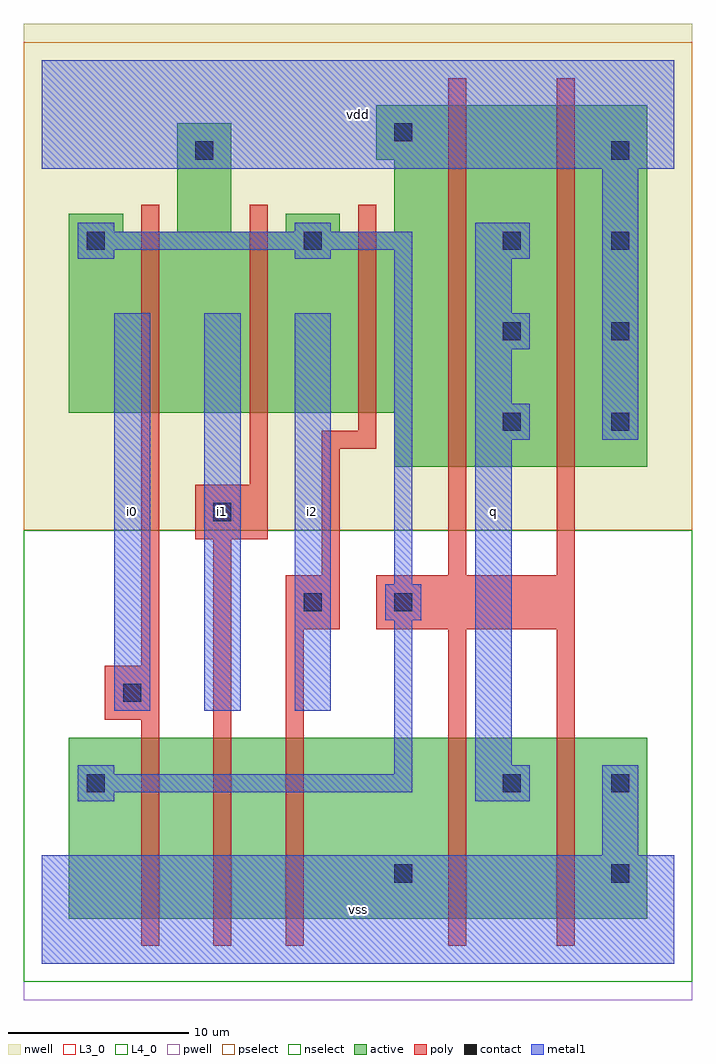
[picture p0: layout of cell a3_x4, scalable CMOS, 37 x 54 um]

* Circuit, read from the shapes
.subckt a3_x4 i0 i1 i2 q vdd vss
M1 n1 i0 n2 VSUBS nfet w=10u l=1u
M2 n3 i1 n1 VSUBS nfet w=10u l=1u
M3 vss i2 n3 VSUBS nfet w=10u l=1u
M4 q n2 vss VSUBS nfet w=10u l=1u m=2
M5 vdd i0 n2 n4 pfet w=10u l=1u
M6 n2 i1 vdd n4 pfet w=10u l=1u
M7 vdd i2 n2 n4 pfet w=10u l=1u
M8 q n2 vdd n4 pfet w=20u l=1u m=2
.ends

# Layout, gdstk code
import gdstk
lib = gdstk.Library(unit=1e-6, precision=1e-09)
def R(c, l, rs):  # rectangles x0, y0, x1, y1
    for r in rs: c.add(gdstk.rectangle(r[:2], r[2:], *l))
def A(c, l, x, y, w, h, nx, ny, dx, dy):  # array of equal rectangles
    R(c, l, [(x+i*dx, y+j*dy, x+i*dx+w, y+j*dy+h) for i in range(nx) for j in range(ny)])
L3_0 = (3, 0)
L4_0 = (4, 0)
contact = (25, 0)
pwell = (41, 0)
nwell = (42, 0)
active = (43, 0)
pselect = (44, 0)
nselect = (45, 0)
poly = (46, 0)
metal1 = (49, 0)

a3_x4 = lib.new_cell('a3_x4')
R(a3_x4, L3_0, [(1.5,2.5,33.5,12.5)])
R(a3_x4, L4_0, [(19.5,27.5,33.5,30.5), (1.5,30.5,33.5,40.5), (1.5,40.5,4.5,41.5), (7.5,40.5,10.5,46.5), (13.5,40.5,16.5,41.5), (19.5,40.5,33.5,44.5), (18.5,44.5,33.5,47.5)])
A(a3_x4, contact, 25.5, 29.5, 1, 1, 1, 3, 0, 5)
A(a3_x4, contact, 31.5, 29.5, 1, 1, 1, 4, 0, 5)
R(a3_x4, contact, [(19.5,4.5,20.5,5.5), (31.5,4.5,32.5,5.5), (2.5,9.5,3.5,10.5), (25.5,9.5,26.5,10.5), (31.5,9.5,32.5,10.5), (4.5,14.5,5.5,15.5), (14.5,19.5,15.5,20.5), (19.5,19.5,20.5,20.5), (9.5,24.5,10.5,25.5), (2.5,39.5,3.5,40.5), (14.5,39.5,15.5,40.5), (8.5,44.5,9.5,45.5), (19.5,45.5,20.5,46.5)])
R(a3_x4, pwell, [(-1,-2,36,24)])
R(a3_x4, nwell, [(-1,24,36,52)])
R(a3_x4, active, [(1.5,2.5,33.5,12.5), (19.5,27.5,33.5,30.5), (1.5,30.5,33.5,40.5), (1.5,40.5,4.5,41.5), (7.5,40.5,10.5,46.5), (13.5,40.5,16.5,41.5), (19.5,40.5,33.5,44.5), (18.5,44.5,33.5,47.5)])
R(a3_x4, pselect, [(-1,24,36,51)])
R(a3_x4, nselect, [(-1,-1,36,24)])
R(a3_x4, poly, [(5.5,1,6.5,13.5), (9.5,1,10.5,23.5), (13.5,1,14.5,18.5), (22.5,1,23.5,18.5), (28.5,1,29.5,18.5), (3.5,13.5,6.5,16.5), (5.5,16.5,6.5,42), (13.5,18.5,16.5,21.5), (18.5,18.5,29.5,21.5), (15.5,21.5,16.5,28.5), (22.5,21.5,23.5,49), (28.5,21.5,29.5,49), (8.5,23.5,12.5,26.5), (11.5,26.5,12.5,42), (15.5,28.5,18.5,29.5), (17.5,29.5,18.5,42)])
A(a3_x4, metal1, 4, 14, 2, 22, 3, 1, 5, 0)
A(a3_x4, metal1, 24, 29, 3, 2, 1, 3, 0, 5)
R(a3_x4, metal1, [(0,0,35,6), (31,6,33,11), (2,9,4,9.5), (24,9,27,11), (2,9.5,20.5,10.5), (2,10.5,4,11), (19.5,10.5,20.5,19), (24,11,26,29), (19,19,21,21), (19.5,21,20.5,39.5), (31,29,33,44), (24,31,26,34), (24,36,26,39), (2,39,4,39.5), (14,39,16,39.5), (2,39.5,20.5,40.5), (2,40.5,4,41), (14,40.5,16,41), (0,44,35,50)])
a3_x4.add(gdstk.Label('i0', (5,25), layer=49, texttype=0))
a3_x4.add(gdstk.Label('i2', (15,25), layer=49, texttype=0))
a3_x4.add(gdstk.Label('i1', (10,25), layer=49, texttype=0))
a3_x4.add(gdstk.Label('vss', (17.5,3), layer=49, texttype=0))
a3_x4.add(gdstk.Label('q', (25,25), layer=49, texttype=0))
a3_x4.add(gdstk.Label('vdd', (17.5,47), layer=49, texttype=0))

lib.write_gds('a3_x4.gds')
